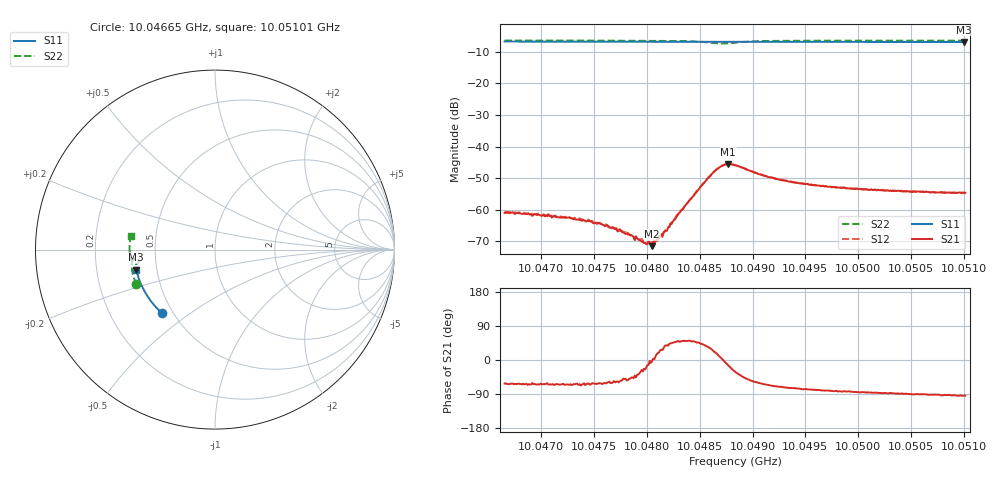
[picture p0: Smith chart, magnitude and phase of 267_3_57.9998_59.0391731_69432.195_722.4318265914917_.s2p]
#  HZ  S  RI  R  50.00
! Rohde & Schwarz Vector Network Analyzer
! Rohde-Schwarz,ZNB20-2Port,1311601062101988,3.16
! Created: UTC 3/21/2024, 1:02:14 AM
! freq[Hz]  re:S11  im:S11  re:S21  im:S21  re:S12  im:S12  re:S22  im:S22
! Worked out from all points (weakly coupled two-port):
!   401 points, 10.04665 GHz to 10.05101 GHz, reference 50 ohm
!   highest |S21| = -45.57 dB at 10.04877 GHz (marker M1); lowest = -71.6 dB at 10.04805 GHz (marker M2)
!   lowest |S11| = -6.9 dB at 10.051 GHz (marker M3), VSWR 2.66, Z = 19.1 - j5.41 ohm
!   |S11| at or under -10 dB: nowhere
!   |S22| runs from -7.3 to -6.4 dB; largest |S21 - S12| = 0.00036
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1.0046652e10  -0.2941 -0.3549  0.000415 -0.000789  0.000509 -0.000788  -0.4385 -0.1939
1.0047066e10  -0.3142 -0.336  0.000362 -0.000769  0.000375 -0.000707  -0.4485 -0.1676
1.0047382e10  -0.3287 -0.3209  0.000279 -0.000607  0.000361 -0.000604  -0.4549 -0.1467
1.0047557e10  -0.3365 -0.3124  0.000289 -0.000535  0.000318 -0.000513  -0.4579 -0.1349
1.0047699e10  -0.3425 -0.3052  0.000254 -0.000422  0.000297 -0.00041  -0.4603 -0.1249
1.0047862e10  -0.3493 -0.2968  0.00027 -0.000278  0.00026 -0.000262  -0.4624 -0.1129
1.0047928e10  -0.3519 -0.2934  0.000267 -0.000192  0.000289 -0.000182  -0.4633 -0.108
1.0047982e10  -0.3542 -0.2905  0.000271 -0.000127  0.000282 -0.000122  -0.4636 -0.1037
1.0048048e10  -0.3569 -0.287  0.000264 -1.24e-05  0.000312 2.15e-05  -0.4643 -0.0985
1.004807e10  -0.3578 -0.2859  0.000296 1.2e-05  0.000331 8.96e-05  -0.4643 -0.0966
1.0048113e10  -0.3595 -0.2836  0.00033 0.000121  0.000346 0.00015  -0.4645 -0.0932
1.0048168e10  -0.3616 -0.2807  0.00036 0.000272  0.000355 0.000288  -0.4647 -0.0883
1.004831e10  -0.3671 -0.2731  0.000605 0.000664  0.00057 0.000703  -0.4633 -0.0754
1.0048593e10  -0.3771 -0.2574  0.00285 0.00174  0.00276 0.00194  -0.4421 -0.05
1.0048691e10  -0.3804 -0.2521  0.00471 0.000651  0.00469 0.00095  -0.4266 -0.0568
1.0048768e10  -0.3831 -0.2479  0.00511 -0.00128  0.00521 -0.000938  -0.4262 -0.0713
1.0048833e10  -0.3853 -0.2445  0.00435 -0.00259  0.00454 -0.00235  -0.4356 -0.0787
1.004916e10  -0.3963 -0.2258  0.00129 -0.00299  0.00149 -0.00294  -0.4675 -0.057
1.0049564e10  -0.4082 -0.202  0.000484 -0.0024  0.000633 -0.00239  -0.4746 -0.0236
1.0050295e10  -0.4261 -0.1573  7.87e-05 -0.00198  0.000189 -0.002  -0.475 0.0285
1.0051004e10  -0.4389 -0.1127  -0.000112 -0.00184  -2.1e-05 -0.00182  -0.4697 0.076
1.0051015e10  -0.4392 -0.1121  -0.000132 -0.00186  -3.51e-05 -0.00182  -0.4695 0.0766
